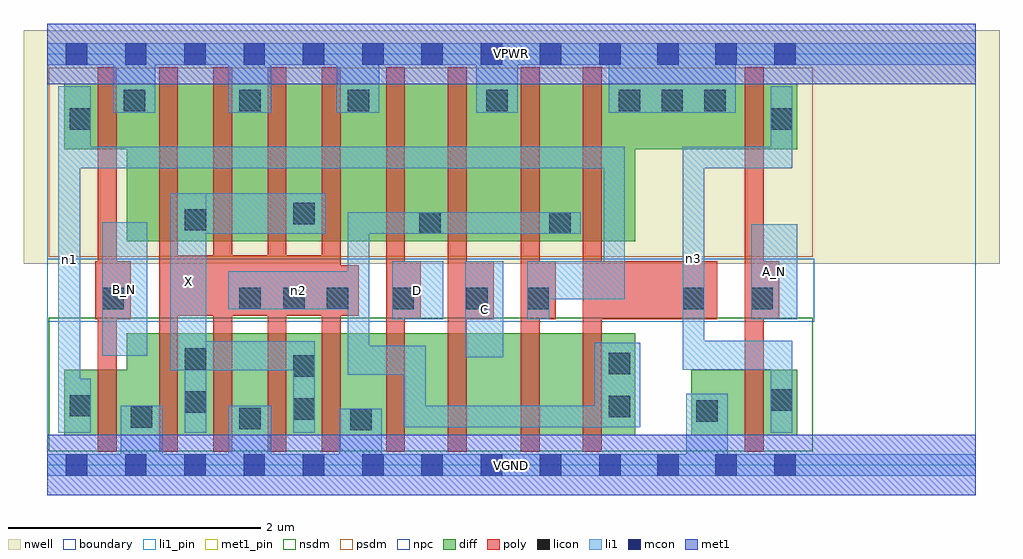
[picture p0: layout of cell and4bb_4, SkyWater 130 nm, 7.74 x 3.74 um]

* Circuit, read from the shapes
.subckt and4bb_4 A_N B_N C D VGND VPWR X n1 n2 n3
XM1 VGND B_N n1 VSUBS sky130_fd_pr__nfet_01v8 w=0.52 l=0.15
XM2 X n2 VGND VSUBS sky130_fd_pr__nfet_01v8 w=0.81 l=0.15 m=4
XM3 n4 D VGND VSUBS sky130_fd_pr__nfet_01v8 w=0.81 l=0.15
XM4 n5 C n4 VSUBS sky130_fd_pr__nfet_01v8 w=0.81 l=0.15
XM5 n6 n1 n5 VSUBS sky130_fd_pr__nfet_01v8 w=0.81 l=0.15
XM6 n2 n3 n6 VSUBS sky130_fd_pr__nfet_01v8 w=0.81 l=0.15
XM7 n3 A_N VGND VSUBS sky130_fd_pr__nfet_01v8 w=0.52 l=0.15
XM8 VPWR B_N n1 n7 sky130_fd_pr__pfet_01v8 w=0.52 l=0.15
XM9 X n2 VPWR n7 sky130_fd_pr__pfet_01v8 w=1.25 l=0.15 m=4
XM10 n2 D VPWR n7 sky130_fd_pr__pfet_01v8 w=1.25 l=0.15
XM11 VPWR C n2 n7 sky130_fd_pr__pfet_01v8 w=1.25 l=0.15
XM12 n2 n1 VPWR n7 sky130_fd_pr__pfet_01v8 w=1.25 l=0.15
XM13 VPWR n3 n2 n7 sky130_fd_pr__pfet_01v8 w=1.25 l=0.15
XM14 n3 A_N VPWR n7 sky130_fd_pr__pfet_01v8 w=0.52 l=0.15
.ends

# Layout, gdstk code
import gdstk
lib = gdstk.Library(unit=1e-6, precision=1e-09)
def R(c, l, rs):  # rectangles x0, y0, x1, y1
    for r in rs: c.add(gdstk.rectangle(r[:2], r[2:], *l))
def A(c, l, x, y, w, h, nx, ny, dx, dy):  # array of equal rectangles
    R(c, l, [(x+i*dx, y+j*dy, x+i*dx+w, y+j*dy+h) for i in range(nx) for j in range(ny)])
nwell = (64, 20)
diff = (65, 20)
poly = (66, 20)
licon = (66, 44)
li1_pin = (67, 16)
li1 = (67, 20)
mcon = (67, 44)
met1_pin = (68, 16)
met1 = (68, 20)
nsdm = (93, 44)
psdm = (94, 20)
npc = (95, 20)
boundary = (235, 4)

and4bb_4 = lib.new_cell('and4bb_4')
R(and4bb_4, nwell, [(-0.19,1.595,7.55,3.45), (0,1.595,7.36,3.45)])
R(and4bb_4, diff, [(0.135,0.235,4.66,0.755), (0.63,0.235,4.66,1.045), (5.105,0.235,5.945,0.755), (0.63,1.775,4.66,3.025), (0.135,2.505,5.945,3.025)])
A(and4bb_4, poly, 0.885, 0.105, 0.15, 3.05, 4, 1, 0.43, 0)
R(and4bb_4, poly, [(0.4,0.105,0.55,3.155), (2.685,0.105,2.835,3.155), (3.175,0.105,3.325,3.155), (3.755,0.105,3.905,3.155), (4.245,0.105,4.395,3.155), (5.53,0.105,5.68,3.155), (0.38,1.155,0.66,1.615), (2.685,1.155,2.96,1.615), (3.175,1.155,3.54,1.615), (3.755,1.155,4.03,1.615), (4.245,1.155,5.31,1.615), (5.53,1.155,5.805,1.615), (0.885,1.185,2.325,1.665), (0.885,1.185,2.47,1.585)])
A(and4bb_4, licon, 4.53, 2.805, 0.17, 0.17, 3, 1, 0.34, 0)
R(and4bb_4, licon, [(2.4,0.275,2.57,0.445), (1.52,0.285,1.69,0.455), (0.66,0.295,0.83,0.465), (5.145,0.345,5.315,0.515), (1.95,0.36,2.12,0.53), (4.45,0.38,4.62,0.55), (0.175,0.385,0.345,0.555), (1.09,0.415,1.26,0.585), (5.735,0.43,5.905,0.6), (1.95,0.7,2.12,0.87), (4.45,0.72,4.62,0.89), (1.09,0.755,1.26,0.925), (0.435,1.235,0.605,1.405), (1.52,1.235,1.69,1.405), (1.87,1.235,2.04,1.405), (2.215,1.235,2.385,1.405), (2.735,1.235,2.905,1.405), (3.32,1.235,3.49,1.405), (3.805,1.235,3.975,1.405), (5.04,1.235,5.21,1.405), (5.58,1.235,5.75,1.405), (2.95,1.835,3.12,2.005), (3.98,1.835,4.15,2.005), (1.09,1.86,1.26,2.03), (1.95,1.91,2.12,2.08), (0.175,2.66,0.345,2.83), (5.735,2.66,5.905,2.83), (0.605,2.805,0.775,2.975), (1.52,2.805,1.69,2.975), (2.38,2.805,2.55,2.975), (3.48,2.805,3.65,2.975)])
R(and4bb_4, li1_pin, [(0.975,0.75,1.26,2.155), (3.315,0.855,3.615,1.615), (0.435,0.865,0.79,1.925), (2.735,1.155,3.14,1.615), (5.58,1.155,5.945,1.91)])
R(and4bb_4, li1, [(0,-0.085,7.36,0.085), (0.58,-0.085,0.915,0.47), (1.435,-0.085,1.775,0.47), (2.315,-0.085,2.65,0.445), (5.065,-0.085,5.395,0.565), (0.085,0.255,0.26,3.005), (0.085,0.255,0.345,0.685), (1.09,0.255,1.26,2.155), (1.95,0.255,2.12,0.98), (5.735,0.255,5.905,0.985), (2.825,0.3,4.7,0.47), (2.825,0.3,3,0.945), (4.34,0.3,4.7,0.97), (2.38,0.715,2.55,2.005), (2.38,0.715,3,0.945), (0.975,0.75,1.26,2.155), (0.975,0.75,2.12,0.98), (5.04,0.755,5.21,2.525), (5.04,0.755,5.905,0.985), (3.315,0.855,3.615,1.615), (0.435,0.865,0.79,1.925), (2.735,1.155,3.14,1.615), (3.805,1.155,3.98,1.615), (5.58,1.155,5.945,1.91), (1.435,1.235,2.55,1.535), (3.805,1.315,4.58,1.615), (4.41,1.315,4.58,2.525), (0.975,1.835,2.205,2.155), (2.38,1.835,4.23,2.005), (0.085,2.355,4.58,2.525), (0.085,2.355,0.345,3.005), (5.04,2.355,5.905,2.525), (5.735,2.355,5.905,3.005), (0.52,2.795,0.855,3.345), (1.435,2.795,1.775,3.345), (2.295,2.795,2.63,3.345), (3.4,2.795,3.73,3.345), (4.45,2.795,5.46,3.345), (0,3.175,7.36,3.345)])
A(and4bb_4, mcon, 0.145, -0.085, 0.17, 0.17, 10, 2, 0.47, 3.26)
R(and4bb_4, mcon, [(4.835,-0.085,5.005,0.085), (5.295,-0.085,5.465,0.085), (5.765,-0.085,5.935,0.085), (4.835,3.175,5.005,3.345), (5.295,3.175,5.465,3.345), (5.765,3.175,5.935,3.345)])
R(and4bb_4, met1_pin, [(0,-0.24,7.36,0.24), (0,3.02,7.36,3.5)])
R(and4bb_4, met1, [(0,-0.24,7.36,0.24), (0,3.02,7.36,3.5)])
R(and4bb_4, nsdm, [(0.01,0.11,6.07,1.17)])
R(and4bb_4, psdm, [(0.01,1.65,6.07,3.15)])
R(and4bb_4, npc, [(0,1.135,6.08,1.635)])
R(and4bb_4, boundary, [(0,0,7.36,3.26)])
and4bb_4.add(gdstk.Label('A_N', (5.762,1.532), layer=67, texttype=5))
and4bb_4.add(gdstk.Label('B_N', (0.612,1.395), layer=67, texttype=5))
and4bb_4.add(gdstk.Label('C', (3.465,1.235), layer=67, texttype=5))
and4bb_4.add(gdstk.Label('D', (2.937,1.385), layer=67, texttype=5))
and4bb_4.add(gdstk.Label('X', (1.117,1.452), layer=67, texttype=5))
and4bb_4.add(gdstk.Label('n2', (1.992,1.385), layer=67, texttype=5))
and4bb_4.add(gdstk.Label('n1', (0.172,1.63), layer=67, texttype=5))
and4bb_4.add(gdstk.Label('n3', (5.125,1.64), layer=67, texttype=5))
and4bb_4.add(gdstk.Label('VPWR', (3.68,3.26), layer=68, texttype=5))
and4bb_4.add(gdstk.Label('VGND', (3.68,0), layer=68, texttype=5))
and4bb_4.add(gdstk.Label('A_N', (5.762,1.532), layer=67, texttype=16))
and4bb_4.add(gdstk.Label('B_N', (0.612,1.395), layer=67, texttype=16))
and4bb_4.add(gdstk.Label('C', (3.465,1.235), layer=67, texttype=16))
and4bb_4.add(gdstk.Label('D', (2.937,1.385), layer=67, texttype=16))
and4bb_4.add(gdstk.Label('X', (1.117,1.452), layer=67, texttype=16))
and4bb_4.add(gdstk.Label('VPWR', (3.68,3.26), layer=68, texttype=16))
and4bb_4.add(gdstk.Label('VGND', (3.68,0), layer=68, texttype=16))

lib.write_gds('and4bb_4.gds')
